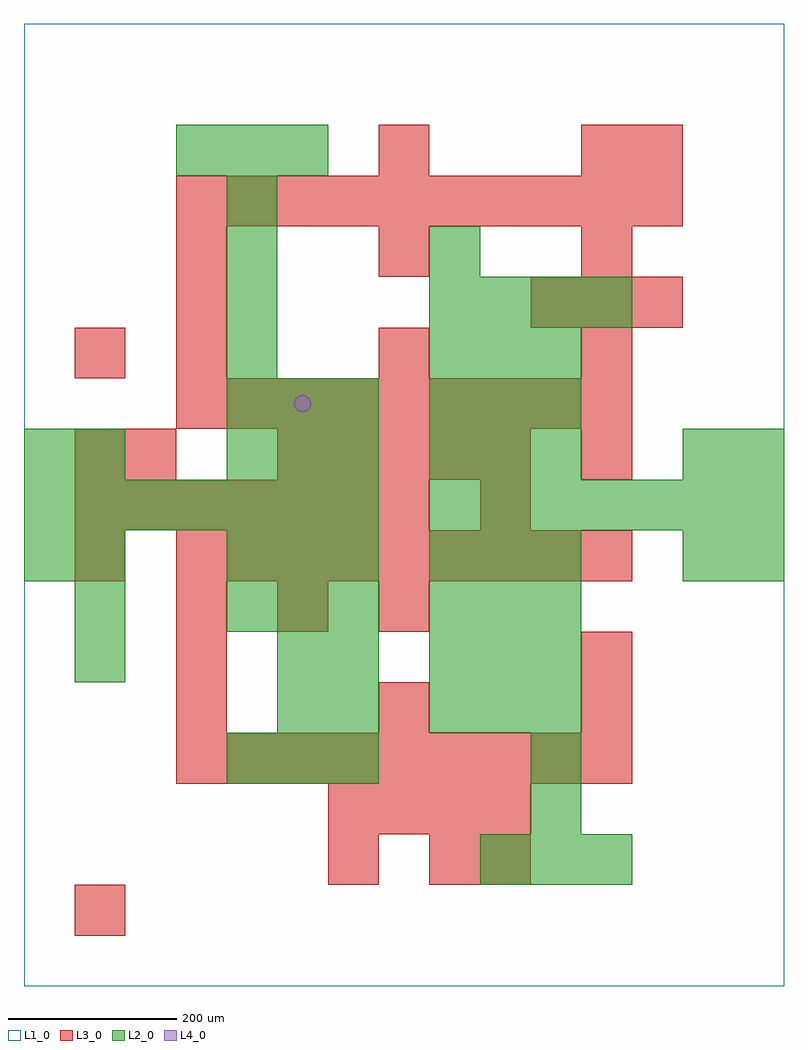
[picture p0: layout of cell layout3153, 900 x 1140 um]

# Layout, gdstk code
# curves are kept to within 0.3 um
import gdstk
lib = gdstk.Library(unit=1e-6, precision=1e-09)
def R(c, l, rs):  # rectangles x0, y0, x1, y1
    for r in rs: c.add(gdstk.rectangle(r[:2], r[2:], *l))
def A(c, l, x, y, w, h, nx, ny, dx, dy):  # array of equal rectangles
    R(c, l, [(x+i*dx, y+j*dy, x+i*dx+w, y+j*dy+h) for i in range(nx) for j in range(ny)])
def P(c, l, *ps):  # polygons
    for p in ps: c.add(gdstk.Polygon(p, *l))
L1_0 = (1, 0)
L2_0 = (2, 0)
L3_0 = (3, 0)
L4_0 = (4, 0)

layout3153 = lib.new_cell('layout3153')
R(layout3153, L1_0, [(0,0,900,1140)])
A(layout3153, L2_0, 540, 120, 60, 60, 3, 1, 60, 0)
A(layout3153, L2_0, 240, 240, 60, 60, 3, 2, 60, 180)
A(layout3153, L2_0, 480, 300, 60, 60, 3, 4, 60, 60)
A(layout3153, L2_0, 60, 360, 60, 60, 1, 3, 0, 60)
A(layout3153, L2_0, 240, 480, 60, 60, 3, 2, 60, 120)
A(layout3153, L2_0, 0, 540, 60, 60, 7, 1, 60, 0)
A(layout3153, L2_0, 480, 540, 60, 60, 7, 1, 60, 0)
A(layout3153, L2_0, 480, 600, 60, 60, 3, 3, 60, 60)
A(layout3153, L2_0, 240, 660, 60, 60, 3, 1, 60, 0)
A(layout3153, L2_0, 240, 720, 60, 60, 1, 4, 0, 60)
A(layout3153, L2_0, 480, 780, 60, 60, 4, 1, 60, 0)
A(layout3153, L2_0, 180, 960, 60, 60, 3, 1, 60, 0)
R(layout3153, L2_0, [(600,180,660,240), (600,240,660,300), (300,300,360,360), (360,300,420,360), (300,360,360,420), (360,360,420,420), (0,480,60,540), (780,480,840,540), (840,480,900,540), (0,600,60,660), (60,600,120,660), (780,600,840,660), (840,600,900,660), (480,840,540,900)])
A(layout3153, L3_0, 360, 180, 60, 60, 4, 1, 60, 0)
A(layout3153, L3_0, 180, 240, 60, 60, 9, 2, 60, 240)
A(layout3153, L3_0, 180, 300, 60, 60, 3, 2, 240, 420)
A(layout3153, L3_0, 180, 420, 60, 60, 3, 1, 120, 0)
A(layout3153, L3_0, 60, 480, 60, 60, 1, 3, 0, 120)
A(layout3153, L3_0, 60, 540, 60, 60, 7, 1, 60, 0)
A(layout3153, L3_0, 300, 600, 60, 60, 5, 1, 60, 0)
A(layout3153, L3_0, 180, 660, 60, 60, 9, 1, 60, 0)
A(layout3153, L3_0, 600, 780, 60, 60, 3, 1, 60, 0)
A(layout3153, L3_0, 180, 840, 60, 60, 3, 1, 240, 0)
A(layout3153, L3_0, 180, 900, 60, 60, 10, 1, 60, 0)
R(layout3153, L3_0, [(60,60,120,120), (360,120,420,180), (480,120,540,180), (540,120,600,180), (180,360,240,420), (660,360,720,420), (540,540,600,600), (120,600,180,660), (660,600,720,660), (180,780,240,840), (420,960,480,1020), (660,960,720,1020), (720,960,780,1020)])
P(layout3153, L4_0, [(340,690),(339.239,693.827),(337.071,697.071),(333.827,699.239),(330,700),(326.173,699.239),(322.929,697.071),(320.761,693.827),(320,690),(320.761,686.173),(322.929,682.929),(326.173,680.761),(330,680),(333.827,680.761),(337.071,682.929),(339.239,686.173)])

lib.write_gds('layout3153.gds')
